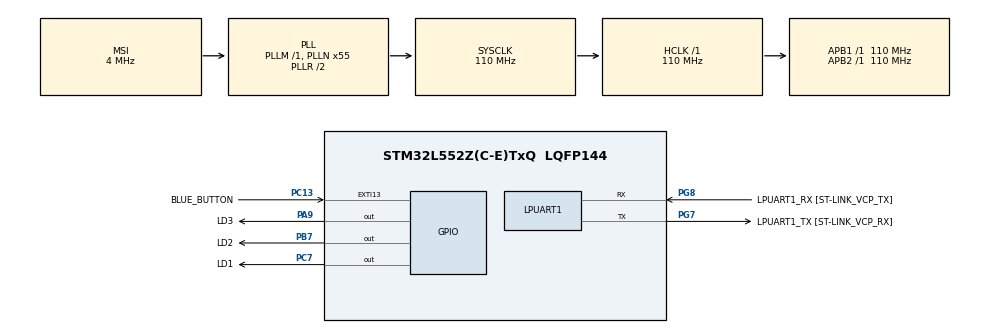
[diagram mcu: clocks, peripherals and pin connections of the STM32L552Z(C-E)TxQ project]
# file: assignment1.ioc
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Mcu.Family=STM32L5
Mcu.Name=STM32L552Z(C-E)TxQ
Mcu.Package=LQFP144
Mcu.TrustZone=disable
NVIC.EXTI13_IRQn=true\:0\:0\:false\:false\:true\:true\:true\:true
NVIC.LPUART1_IRQn=true\:0\:0\:false\:false\:true\:true\:true\:true
NVIC.PriorityGroup=NVIC_PRIORITYGROUP_3
NVIC.TIM2_IRQn=true\:0\:0\:false\:false\:true\:true\:true\:true
PA13\ (JTMS/SWDIO).Signal=DEBUG_JTMS-SWDIO
PA14\ (JTCK/SWCLK).Signal=DEBUG_JTCK-SWCLK
PA9.GPIO_Label=LD3
PA9.Signal=GPIO_Output
PB3\ (JTDO/TRACESWO).Signal=DEBUG_JTDO-SWO
PB7.GPIO_Label=LD2
PB7.Signal=GPIO_Output
PC13.GPIO_Label=BLUE_BUTTON
PC13.Signal=GPXTI13
PC14-OSC32_IN\ (PC14).Signal=RCC_OSC32_IN
PC15-OSC32_OUT\ (PC15).Signal=RCC_OSC32_OUT
PC7.GPIO_Label=LD1
PC7.Signal=GPIO_Output
PG7.GPIO_Label=LPUART1_TX [ST-LINK_VCP_RX]
PG7.Mode=Asynchronous
PG7.Signal=LPUART1_TX
PG8.GPIO_Label=LPUART1_RX [ST-LINK_VCP_TX]
PG8.Mode=Asynchronous
PG8.Signal=LPUART1_RX
ProjectManager.HeapSize=0x200
ProjectManager.StackSize=0x400
ProjectManager.TargetToolchain=STM32CubeIDE
RCC.ADCCLockSelection=RCC_ADCCLKSOURCE_SYSCLK
RCC.ADCFreq_Value=110000000
RCC.AHBFreq_Value=110000000
RCC.APB1Freq_Value=110000000
RCC.APB1TimFreq_Value=110000000
RCC.APB2Freq_Value=110000000
RCC.APB2TimFreq_Value=110000000
RCC.CK48CLockSelection=RCC_USBCLKSOURCE_HSI48
RCC.CortexFreq_Value=110000000
RCC.HCLKFreq_Value=110000000
RCC.HSE_VALUE=8000000
RCC.HSI48_VALUE=48000000
RCC.HSI_VALUE=16000000
RCC.LSE_VALUE=32768
RCC.MSI_VALUE=4000000
RCC.PLLN=55
RCC.PLLSAI1N=24
RCC.RTCClockSelection=RCC_RTCCLKSOURCE_LSE
RCC.SYSCLKFreq_VALUE=110000000
RCC.SYSCLKSource=RCC_SYSCLKSOURCE_PLLCLK
RCC.USBFreq_Value=48000000
RCC.VCOOutputFreq_Value=220000000
TIM2.Period=5000-1
TIM2.Prescaler=11000-1
VP_ICACHE_VS_ICACHE.Mode=DirectMappedCache
VP_PWR_VS_DBSignals.Mode=DisableDeadBatterySignals
VP_PWR_VS_SECSignals.Mode=Security/Privilege
VP_TIM2_VS_ClockSourceINT.Mode=Internal
board=NUCLEO-L552ZE-Q

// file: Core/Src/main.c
/* USER CODE BEGIN Header */
/**
 ******************************************************************************
 * @file           : main.c
 * @brief          : Main program body
 * @author         : Nereya Mantzur
 ******************************************************************************
 * @attention
 *
 * Copyright (c) 2025 STMicroelectronics.
 * All rights reserved.
 *
 * This software is licensed under terms that can be found in the LICENSE file
 * in the root directory of this software component.
 * If no LICENSE file comes with this software, it is provided AS-IS.
 *
 ******************************************************************************
 */
/* USER CODE END Header */
#include "main.h"
#include <string.h>

UART_HandleTypeDef hlpuart1;

TIM_HandleTypeDef htim2;

/* USER CODE BEGIN PV */
uint8_t ch;
volatile uint8_t command[32];
volatile int cindex = 0;
volatile int data_ready_flag = 0;

uint8_t help_msg[] = "UART Command Ready\r\n"
		"Commands:\r\n"
		" LED1 ON / LED1 OFF / LED1 BLINK\r\n"
		" LED2 ON / LED2 OFF / LED2 BLINK\r\n"
		" LED3 ON / LED3 OFF / LED3 BLINK\r\n"
		" ALL ON / ALL OFF\r\n"
		"Blue button: toggle blink speed (FAST 0.1s / SLOW 0.5s)\r\n\r\n";

volatile uint32_t tick_counter = 0;
volatile uint32_t ticks_for_toggle = 1;
const uint32_t tick_periods[] = { 1, 5 };
volatile uint8_t current_period_index = 0;

volatile uint8_t isBlink[3] = { 0 };

/* USER CODE END PV */

void SystemClock_Config(void);
static void MX_GPIO_Init(void);
static void MX_ICACHE_Init(void);
static void MX_LPUART1_UART_Init(void);
static void MX_TIM2_Init(void);
/* USER CODE BEGIN PFP */
void parseCommand();
void startBlink(volatile uint8_t *isBlink);
/* USER CODE END PFP */

int main(void) {

	/* MCU Configuration--------------------------------------------------------*/

	/* Reset of all peripherals, Initializes the Flash interface and the Systick. */
	HAL_Init();

	/* Configure the system clock */
	SystemClock_Config();

	/* Initialize all configured peripherals */
	MX_GPIO_Init();
	MX_ICACHE_Init();
	MX_LPUART1_UART_Init();
	MX_TIM2_Init();
	/* USER CODE BEGIN 2 */
	HAL_UART_Transmit(&hlpuart1, help_msg, sizeof(help_msg) - 1, HAL_MAX_DELAY);
	HAL_UART_Transmit(&hlpuart1, (const uint8_t*) "Nereya> ", 8, HAL_MAX_DELAY);
	HAL_UART_Receive_IT(&hlpuart1, &ch, 1);
	HAL_TIM_Base_Start_IT(&htim2);
	/* USER CODE END 2 */

	/* Infinite loop */
	while (1) {

		/* USER CODE BEGIN 3 */
		if (data_ready_flag) {
			parseCommand();
			HAL_UART_Transmit(&hlpuart1, (const uint8_t*) "Nereya> ", 8,
			HAL_MAX_DELAY);
			data_ready_flag = 0;
		}
	}
	/* USER CODE END 3 */
}

void SystemClock_Config(void) {
	RCC_OscInitTypeDef RCC_OscInitStruct = { 0 };
	RCC_ClkInitTypeDef RCC_ClkInitStruct = { 0 };

	/** Configure the main internal regulator output voltage
	 */
	if (HAL_PWREx_ControlVoltageScaling(PWR_REGULATOR_VOLTAGE_SCALE0)
			!= HAL_OK) {
		Error_Handler();
	}

	/** Initializes the RCC Oscillators according to the specified parameters
	 * in the RCC_OscInitTypeDef structure.
	 */
	RCC_OscInitStruct.OscillatorType = RCC_OSCILLATORTYPE_MSI;
	RCC_OscInitStruct.MSIState = RCC_MSI_ON;
	RCC_OscInitStruct.MSICalibrationValue = RCC_MSICALIBRATION_DEFAULT;
	RCC_OscInitStruct.MSIClockRange = RCC_MSIRANGE_6;
	RCC_OscInitStruct.PLL.PLLState = RCC_PLL_ON;
	RCC_OscInitStruct.PLL.PLLSource = RCC_PLLSOURCE_MSI;
	RCC_OscInitStruct.PLL.PLLM = 1;
	RCC_OscInitStruct.PLL.PLLN = 55;
	RCC_OscInitStruct.PLL.PLLP = RCC_PLLP_DIV7;
	RCC_OscInitStruct.PLL.PLLQ = RCC_PLLQ_DIV2;
	RCC_OscInitStruct.PLL.PLLR = RCC_PLLR_DIV2;
	if (HAL_RCC_OscConfig(&RCC_OscInitStruct) != HAL_OK) {
		Error_Handler();
	}

	/** Initializes the CPU, AHB and APB buses clocks
	 */
	RCC_ClkInitStruct.ClockType = RCC_CLOCKTYPE_HCLK | RCC_CLOCKTYPE_SYSCLK
			| RCC_CLOCKTYPE_PCLK1 | RCC_CLOCKTYPE_PCLK2;
	RCC_ClkInitStruct.SYSCLKSource = RCC_SYSCLKSOURCE_PLLCLK;
	RCC_ClkInitStruct.AHBCLKDivider = RCC_SYSCLK_DIV1;
	RCC_ClkInitStruct.APB1CLKDivider = RCC_HCLK_DIV1;
	RCC_ClkInitStruct.APB2CLKDivider = RCC_HCLK_DIV1;

	if (HAL_RCC_ClockConfig(&RCC_ClkInitStruct, FLASH_LATENCY_5) != HAL_OK) {
		Error_Handler();
	}
}

static void MX_ICACHE_Init(void) {

	/** Enable instruction cache in 1-way (direct mapped cache)
	 */
	if (HAL_ICACHE_ConfigAssociativityMode(ICACHE_1WAY) != HAL_OK) {
		Error_Handler();
	}
	if (HAL_ICACHE_Enable() != HAL_OK) {
		Error_Handler();
	}

}

static void MX_LPUART1_UART_Init(void) {

	hlpuart1.Instance = LPUART1;
	hlpuart1.Init.BaudRate = 115200;
	hlpuart1.Init.WordLength = UART_WORDLENGTH_8B;
	hlpuart1.Init.StopBits = UART_STOPBITS_1;
	hlpuart1.Init.Parity = UART_PARITY_NONE;
	hlpuart1.Init.Mode = UART_MODE_TX_RX;
	hlpuart1.Init.HwFlowCtl = UART_HWCONTROL_NONE;
	hlpuart1.Init.OneBitSampling = UART_ONE_BIT_SAMPLE_DISABLE;
	hlpuart1.Init.ClockPrescaler = UART_PRESCALER_DIV1;
	hlpuart1.AdvancedInit.AdvFeatureInit = UART_ADVFEATURE_NO_INIT;
	hlpuart1.FifoMode = UART_FIFOMODE_DISABLE;
	if (HAL_UART_Init(&hlpuart1) != HAL_OK) {
		Error_Handler();
	}
	if (HAL_UARTEx_SetTxFifoThreshold(&hlpuart1, UART_TXFIFO_THRESHOLD_1_8)
			!= HAL_OK) {
		Error_Handler();
	}
	if (HAL_UARTEx_SetRxFifoThreshold(&hlpuart1, UART_RXFIFO_THRESHOLD_1_8)
			!= HAL_OK) {
		Error_Handler();
	}
	if (HAL_UARTEx_DisableFifoMode(&hlpuart1) != HAL_OK) {
		Error_Handler();
	}

}

static void MX_TIM2_Init(void) {

	TIM_ClockConfigTypeDef sClockSourceConfig = { 0 };
	TIM_MasterConfigTypeDef sMasterConfig = { 0 };

	htim2.Instance = TIM2;
	htim2.Init.Prescaler = 11000 - 1;
	htim2.Init.CounterMode = TIM_COUNTERMODE_UP;
	htim2.Init.Period = 1000 - 1;
	htim2.Init.ClockDivision = TIM_CLOCKDIVISION_DIV1;
	htim2.Init.AutoReloadPreload = TIM_AUTORELOAD_PRELOAD_DISABLE;
	if (HAL_TIM_Base_Init(&htim2) != HAL_OK) {
		Error_Handler();
	}
	sClockSourceConfig.ClockSource = TIM_CLOCKSOURCE_INTERNAL;
	if (HAL_TIM_ConfigClockSource(&htim2, &sClockSourceConfig) != HAL_OK) {
		Error_Handler();
	}
	sMasterConfig.MasterOutputTrigger = TIM_TRGO_RESET;
	sMasterConfig.MasterSlaveMode = TIM_MASTERSLAVEMODE_DISABLE;
	if (HAL_TIMEx_MasterConfigSynchronization(&htim2, &sMasterConfig)
			!= HAL_OK) {
		Error_Handler();
	}

}

static void MX_GPIO_Init(void) {
	GPIO_InitTypeDef GPIO_InitStruct = { 0 };

	/* GPIO Ports Clock Enable */
	__HAL_RCC_GPIOC_CLK_ENABLE();
	__HAL_RCC_GPIOG_CLK_ENABLE();
	HAL_PWREx_EnableVddIO2();
	__HAL_RCC_GPIOA_CLK_ENABLE();
	__HAL_RCC_GPIOB_CLK_ENABLE();

	/*Configure GPIO pin Output Level */
	HAL_GPIO_WritePin(LD1_GPIO_Port, LD1_Pin, GPIO_PIN_RESET);

	/*Configure GPIO pin Output Level */
	HAL_GPIO_WritePin(LD3_GPIO_Port, LD3_Pin, GPIO_PIN_RESET);

	/*Configure GPIO pin Output Level */
	HAL_GPIO_WritePin(LD2_GPIO_Port, LD2_Pin, GPIO_PIN_RESET);

	/*Configure GPIO pin : BLUE_BUTTON_Pin */
	GPIO_InitStruct.Pin = BLUE_BUTTON_Pin;
	GPIO_InitStruct.Mode = GPIO_MODE_IT_RISING;
	GPIO_InitStruct.Pull = GPIO_NOPULL;
	HAL_GPIO_Init(BLUE_BUTTON_GPIO_Port, &GPIO_InitStruct);

	/*Configure GPIO pin : LD1_Pin */
	GPIO_InitStruct.Pin = LD1_Pin;
	GPIO_InitStruct.Mode = GPIO_MODE_OUTPUT_PP;
	GPIO_InitStruct.Pull = GPIO_NOPULL;
	GPIO_InitStruct.Speed = GPIO_SPEED_FREQ_LOW;
	HAL_GPIO_Init(LD1_GPIO_Port, &GPIO_InitStruct);

	/*Configure GPIO pin : LD3_Pin */
	GPIO_InitStruct.Pin = LD3_Pin;
	GPIO_InitStruct.Mode = GPIO_MODE_OUTPUT_PP;
	GPIO_InitStruct.Pull = GPIO_NOPULL;
	GPIO_InitStruct.Speed = GPIO_SPEED_FREQ_LOW;
	HAL_GPIO_Init(LD3_GPIO_Port, &GPIO_InitStruct);

	/*Configure GPIO pin : LD2_Pin */
	GPIO_InitStruct.Pin = LD2_Pin;
	GPIO_InitStruct.Mode = GPIO_MODE_OUTPUT_PP;
	GPIO_InitStruct.Pull = GPIO_NOPULL;
	GPIO_InitStruct.Speed = GPIO_SPEED_FREQ_LOW;
	HAL_GPIO_Init(LD2_GPIO_Port, &GPIO_InitStruct);

	/* EXTI interrupt init*/
	HAL_NVIC_SetPriority(EXTI13_IRQn, 0, 0);
	HAL_NVIC_EnableIRQ(EXTI13_IRQn);

}

/* USER CODE BEGIN 4 */

/**
 * @brief UART callback to handle receiving and transmitting data
 * @retval None
 */
void HAL_UART_RxCpltCallback(UART_HandleTypeDef *huart) {
	if (huart->Instance == LPUART1) {
		HAL_UART_Transmit(huart, &ch, 1, HAL_MAX_DELAY);
		if (cindex >= 32) {
			cindex = 0;
			HAL_UART_Transmit(huart, (const uint8_t*) "\r\n", 2, HAL_MAX_DELAY);
			data_ready_flag = 1;
		}
		if (ch == '\r' || ch == '\n') {
			command[cindex] = '\0';
			data_ready_flag = 1;
		} else {
			command[cindex] = ch;
			cindex++;
		}
		HAL_UART_Receive_IT(huart, &ch, 1);
	}
}

/**
 * @brief Timer callback when timer elapsed then calling startBlink
 * @retval None
 */
void HAL_TIM_PeriodElapsedCallback(TIM_HandleTypeDef *htim) {
	if (htim->Instance == TIM2) {
		while (tick_counter < ticks_for_toggle) {
			++tick_counter;
			return;
		}
		startBlink(isBlink);
		tick_counter = 0;
	}
}

/**
 * @brief Blue button handling
 * @retval None
 */

void HAL_GPIO_EXTI_Rising_Callback(uint16_t GPIO_Pin) {
	if (GPIO_Pin == BLUE_BUTTON_Pin) {
		cindex = 0;
		current_period_index++;
		if (current_period_index >= 2) {
			current_period_index = 0;
		}
		ticks_for_toggle = tick_periods[current_period_index];
		tick_counter = 0;
	}
	if (current_period_index == 0) {
		HAL_UART_Transmit(&hlpuart1,
				(const uint8_t*) "\r\nBlink speed: FAST (0.1s)\r\nNereya> ", 36,
				HAL_MAX_DELAY);
	} else {
		HAL_UART_Transmit(&hlpuart1,
				(const uint8_t*) "\r\nBlink speed: SLOW (0.5s)\r\nNereya> ", 36,
				HAL_MAX_DELAY);
	}
}

/**
 * @brief parse the commands written in the terminal
 * @retval None
 */
void parseCommand() {
	if (strcmp((char*) command, "LED1 ON") == 0) {
		HAL_GPIO_WritePin(LD1_GPIO_Port, LD1_Pin, GPIO_PIN_SET);
		isBlink[0] = 0;
	} else if (strcmp((char*) command, "LED1 OFF") == 0) {
		HAL_GPIO_WritePin(LD1_GPIO_Port, LD1_Pin, GPIO_PIN_RESET);
		isBlink[0] = 0;
	} else if (strcmp((char*) command, "LED1 BLINK") == 0) {
		isBlink[0] = 1;
	} else if (strcmp((char*) command, "LED2 ON") == 0) {
		HAL_GPIO_WritePin(LD2_GPIO_Port, LD2_Pin, GPIO_PIN_SET);
		isBlink[1] = 0;
	} else if (strcmp((char*) command, "LED2 OFF") == 0) {
		HAL_GPIO_WritePin(LD2_GPIO_Port, LD2_Pin, GPIO_PIN_RESET);
		isBlink[1] = 0;
	} else if (strcmp((char*) command, "LED2 BLINK") == 0) {
		isBlink[1] = 1;
	} else if (strcmp((char*) command, "LED3 ON") == 0) {
		HAL_GPIO_WritePin(LD3_GPIO_Port, LD3_Pin, GPIO_PIN_SET);
		isBlink[2] = 0;
	} else if (strcmp((char*) command, "LED3 OFF") == 0) {
		HAL_GPIO_WritePin(LD3_GPIO_Port, LD3_Pin, GPIO_PIN_RESET);
		isBlink[2] = 0;
	} else if (strcmp((char*) command, "LED3 BLINK") == 0) {
		isBlink[2] = 1;
	} else if (strcmp((char*) command, "ALL ON") == 0) {
		HAL_GPIO_WritePin(LD1_GPIO_Port, LD1_Pin, GPIO_PIN_SET);
		HAL_GPIO_WritePin(LD2_GPIO_Port, LD2_Pin, GPIO_PIN_SET);
		HAL_GPIO_WritePin(LD3_GPIO_Port, LD3_Pin, GPIO_PIN_SET);
		isBlink[0] = 0;
		isBlink[1] = 0;
		isBlink[2] = 0;
	} else if (strcmp((char*) command, "ALL OFF") == 0) {
		HAL_GPIO_WritePin(LD1_GPIO_Port, LD1_Pin, GPIO_PIN_RESET);
		HAL_GPIO_WritePin(LD2_GPIO_Port, LD2_Pin, GPIO_PIN_RESET);
		HAL_GPIO_WritePin(LD3_GPIO_Port, LD3_Pin, GPIO_PIN_RESET);
		isBlink[0] = 0;
		isBlink[1] = 0;
		isBlink[2] = 0;
	} else {
		HAL_UART_Transmit(&hlpuart1, (const uint8_t*) "unknown command\r\n", 17,
		HAL_MAX_DELAY);
	}
	cindex = 0;
}

/**
 * @brief Start toggling the pins the their flags are on
 * @retval None
 */
void startBlink(volatile uint8_t *isBlink) {
	if (isBlink[0]) {
		HAL_GPIO_TogglePin(LD1_GPIO_Port, LD1_Pin);
	}
	if (isBlink[1]) {
		HAL_GPIO_TogglePin(LD2_GPIO_Port, LD2_Pin);
	}
	if (isBlink[2]) {
		HAL_GPIO_TogglePin(LD3_GPIO_Port, LD3_Pin);
	}
}
/* USER CODE END 4 */

void Error_Handler(void) {
	__disable_irq();
	while (1) {
	}
}
